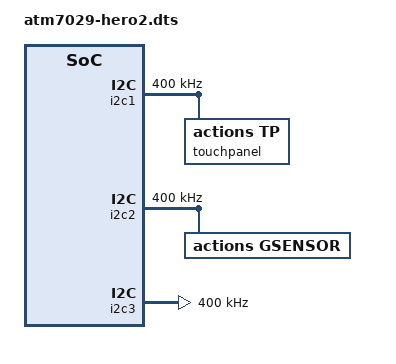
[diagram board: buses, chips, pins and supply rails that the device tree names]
#include atm7029.dtsi
#include atm7029-pinctrl.dtsi

        model = "Ainol Novo 10 Hero 2 (ATM7029)";
        #address-cells = <1>;
        #size-cells = <1>;
        compatible = "actions,atm7029-hero2";
        interrupt-parent = <&gic>;

&i2c0 {
        clock-frequency = <400000>;
        status = "disabled";
        pinctrl-names = "default";
        pinctrl-0 = <10>;
};

&i2c1 {
        clock-frequency = <400000>;
        status = "okay";
        pinctrl-names = "default";
        pinctrl-0 = <11>;

        touchpanel {
                compatible = "actions,tp";
                #address-cells = <1>;
                #size-cells = <0>;

                ft5x06@38 {
                        compatible = "ft5x06";
                        reg = <0x38>;
                        rst_gpios = <12 35 1>;
                        max_point = <5>;
                        x_pixel = <1280>;
                        y_pixel = <800>;
                        irq_number = <0x5d>;
                        tp_vcc = "ldo5";
                        rotate = <1>;
                        vol_range = <3100000 3110000>;
                };
        };
};

&i2c2 {
        clock-frequency = <400000>;
        status = "okay";
        pinctrl-names = "default";
        pinctrl-0 = <13>;

        gsensor {
                compatible = "actions,gsensor";
                #address-cells = <1>;
                #size-cells = <0>;

                mc3210@38 {
                        compatible = "mc3210";
                        position = "3";
                        calibration = <0 0 0>;
                };

                lis3dh@18 {
                        compatible = "lis3dh";
                        reg = <18>;
                        position = "-2";
                        calibration = <0 0 0>;
                };
        };
};

&i2c3 {
                clock-frequency = <400000>;
                status = "okay";
                pinctrl-names = "default";
                pinctrl-0 = <14>;

};
